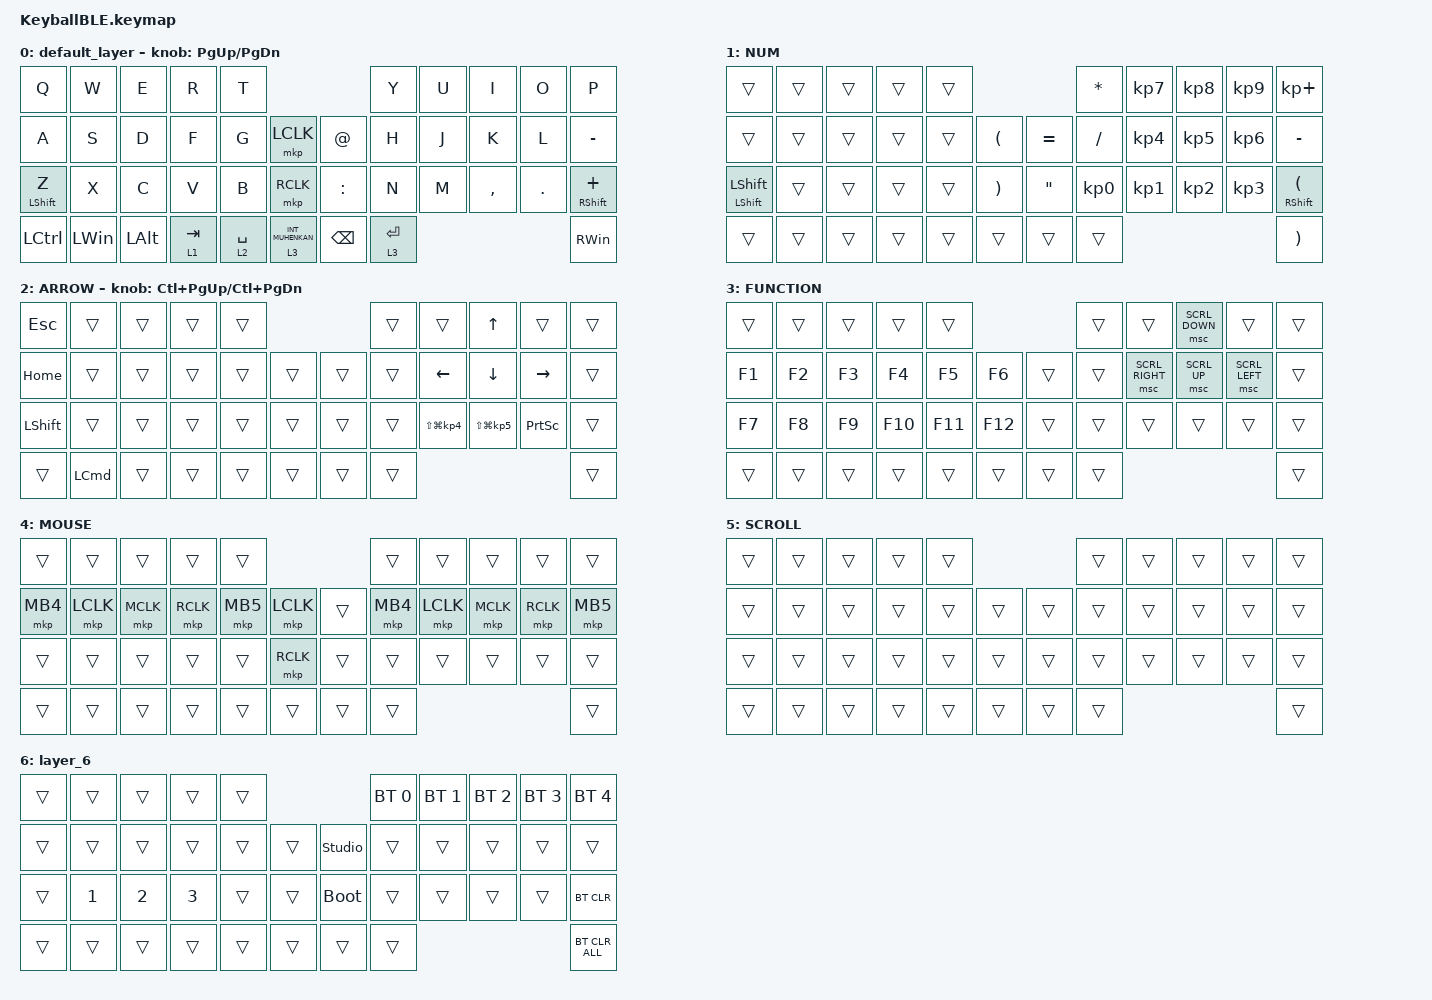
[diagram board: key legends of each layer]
#include <behaviors.dtsi>
#include <dt-bindings/zmk/bt.h>
#include <dt-bindings/zmk/keys.h>
#include <dt-bindings/zmk/pointing.h>

#define MOUSE 4
#define SCROLL 5
#define NUM 6

&mt {
    flavor = "balanced";
    quick-tap-ms = <0>;
};

/ {
    combos {
        compatible = "zmk,combos";

        double_quotation {
            bindings = <&kp DOUBLE_QUOTES>;
            key-positions = <20 21>;
        };

        exclamation {
            bindings = <&kp EXCLAMATION>;
            key-positions = <18 19>;
        };

        question {
            bindings = <&kp QUESTION>;
            key-positions = <19 20>;
        };
    };

    macros {
        to_layer_0: to_layer_0 {
            compatible = "zmk,behavior-macro-one-param";
            #binding-cells = <1>;
            bindings = <&to 0 &macro_param_1to1 &kp MACRO_PLACEHOLDER>;
            label = "TO_LAYER_0";
        };
    };

    behaviors {
        lt_to_layer_0: lt_to_layer_0 {
            compatible = "zmk,behavior-hold-tap";
            label = "LAYER_TAP_TO_0";
            bindings = <&mo>, <&to_layer_0>;

            #binding-cells = <2>;
            tapping-term-ms = <200>;
        };
    };

    keymap {
        compatible = "zmk,keymap";

        default_layer {
            bindings = <
&kp Q         &kp W         &kp E         &kp R                 &kp T                                               &kp Y        &kp U  &kp I      &kp O    &kp P
&kp A         &kp S         &kp D         &kp F                 &kp G        &mkp LCLK               &kp AT         &kp H        &kp J  &kp K      &kp L    &kp MINUS
&mt LSHIFT Z  &kp X         &kp C         &kp V                 &kp B        &mkp RCLK               &kp COLON      &kp N        &kp M  &kp COMMA  &kp DOT  &mt RIGHT_SHIFT PLUS
&kp LCTRL     &kp LEFT_WIN  &kp LEFT_ALT  &lt_to_layer_0 1 TAB  &lt 2 SPACE  &lt 3 INT_MUHENKAN      &kp BACKSPACE  &lt 3 ENTER                             &kp RIGHT_WIN
            >;

            sensor-bindings = <&inc_dec_kp PG_UP PAGE_DOWN>;
        };

        NUM {
            bindings = <
&trans                     &trans  &trans  &trans  &trans                                                &kp ASTERISK     &kp KP_NUMBER_7  &kp KP_NUMBER_8  &kp KP_NUMBER_9  &kp KP_PLUS
&trans                     &trans  &trans  &trans  &trans  &kp LEFT_PARENTHESIS       &kp EQUAL          &kp SLASH        &kp KP_NUMBER_4  &kp KP_NUMBER_5  &kp KP_NUMBER_6  &kp MINUS
&mt LEFT_SHIFT LEFT_SHIFT  &trans  &trans  &trans  &trans  &kp RIGHT_PARENTHESIS      &kp DOUBLE_QUOTES  &kp KP_NUMBER_0  &kp KP_NUMBER_1  &kp KP_NUMBER_2  &kp KP_NUMBER_3  &mt RIGHT_SHIFT LEFT_PARENTHESIS
&trans                     &trans  &trans  &trans  &trans  &trans                     &trans             &trans                                                              &kp RIGHT_PARENTHESIS
            >;
        };

        ARROW {
            bindings = <
&kp ESCAPE      &trans            &trans  &trans  &trans                      &trans  &trans                   &kp UP                   &trans           &trans
&kp HOME        &trans            &trans  &trans  &trans  &trans      &trans  &trans  &kp LEFT                 &kp DOWN                 &kp RIGHT        &trans
&kp LEFT_SHIFT  &trans            &trans  &trans  &trans  &trans      &trans  &trans  &kp LS(LG(KP_NUMBER_4))  &kp LS(LG(KP_NUMBER_5))  &kp PRINTSCREEN  &trans
&trans          &kp LEFT_COMMAND  &trans  &trans  &trans  &trans      &trans  &trans                                                                     &trans
            >;

            sensor-bindings = <&inc_dec_kp LC(PAGE_UP) LC(PAGE_DOWN)>;
        };

        FUNCTION {
            bindings = <
&trans  &trans  &trans  &trans   &trans                        &trans  &trans           &msc SCRL_DOWN  &trans          &trans
&kp F1  &kp F2  &kp F3  &kp F4   &kp F5   &kp F6       &trans  &trans  &msc SCRL_RIGHT  &msc SCRL_UP    &msc SCRL_LEFT  &trans
&kp F7  &kp F8  &kp F9  &kp F10  &kp F11  &kp F12      &trans  &trans  &trans           &trans          &trans          &trans
&trans  &trans  &trans  &trans   &trans   &trans       &trans  &trans                                                   &trans
            >;
        };

        MOUSE {
            bindings = <
&trans    &trans     &trans     &trans     &trans                           &trans    &trans     &trans     &trans     &trans
&mkp MB4  &mkp LCLK  &mkp MCLK  &mkp RCLK  &mkp MB5  &mkp LCLK      &trans  &mkp MB4  &mkp LCLK  &mkp MCLK  &mkp RCLK  &mkp MB5
&trans    &trans     &trans     &trans     &trans    &mkp RCLK      &trans  &trans    &trans     &trans     &trans     &trans
&trans    &trans     &trans     &trans     &trans    &trans         &trans  &trans                                     &trans
            >;
        };

        SCROLL {
            bindings = <
&trans  &trans  &trans  &trans  &trans                      &trans  &trans  &trans  &trans  &trans
&trans  &trans  &trans  &trans  &trans  &trans      &trans  &trans  &trans  &trans  &trans  &trans
&trans  &trans  &trans  &trans  &trans  &trans      &trans  &trans  &trans  &trans  &trans  &trans
&trans  &trans  &trans  &trans  &trans  &trans      &trans  &trans                          &trans
            >;
        };

        layer_6 {
            bindings = <
&trans  &trans        &trans        &trans        &trans                              &bt BT_SEL 0  &bt BT_SEL 1  &bt BT_SEL 2  &bt BT_SEL 3  &bt BT_SEL 4
&trans  &trans        &trans        &trans        &trans  &trans      &studio_unlock  &trans        &trans        &trans        &trans        &trans
&trans  &kp NUMBER_1  &kp NUMBER_2  &kp NUMBER_3  &trans  &trans      &bootloader     &trans        &trans        &trans        &trans        &bt BT_CLR
&trans  &trans        &trans        &trans        &trans  &trans      &trans          &trans                                                  &bt BT_CLR_ALL
            >;
        };
    };
};
